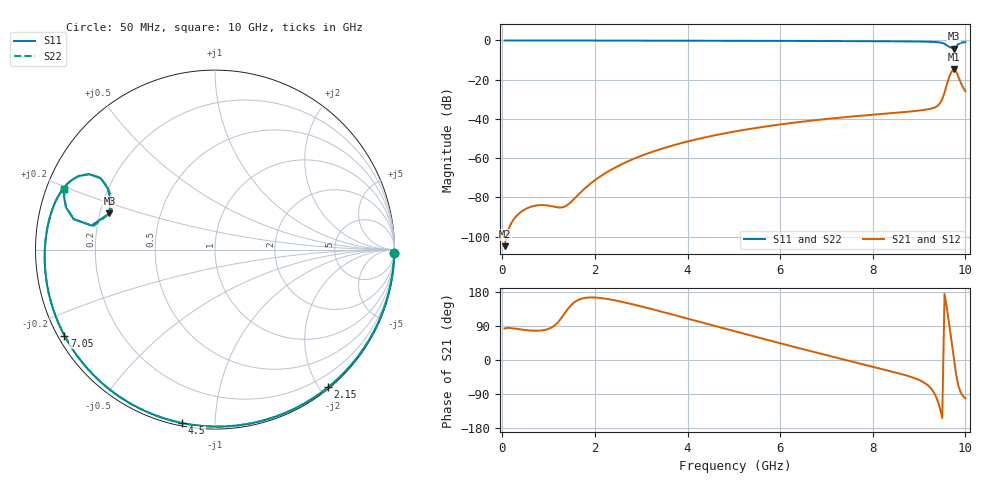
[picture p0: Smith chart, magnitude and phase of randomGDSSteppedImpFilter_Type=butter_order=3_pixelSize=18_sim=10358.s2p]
! freq	dB(S11)	phase(S11)	dB(S12)	phase(S12)
!  dB(S21)	phase(S21)	dB(S22)	phase(S22)
!S-par simulation data
#  GHz  S  DB  R 50
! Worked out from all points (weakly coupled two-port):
!   200 points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, 50 MHz to 10 GHz, reference 50 ohm
!   highest |S21| = -14.64 dB at 9.75 GHz (marker M1); lowest = -104.8 dB at 50 MHz (marker M2)
!   lowest |S11| = -4.1 dB at 9.75 GHz (marker M3), VSWR 4.29, Z = 12 + j7.91 ohm
!   |S11| at or under -10 dB: nowhere
!   |S22| runs from -4.3 to 0.0 dB; largest |S21 - S12| = 0
!   S11 on the Smith chart (normalised r, x): 50 MHz: 4, -98; 2.15 GHz: 0.02, -2.12; 4.5 GHz: 0.01, -0.83; 7.05 GHz: 0.02, -0.27; 10 GHz: 0.05, +0.19
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0.05  -0.01 -1.2  -104.79 82.9  -104.79 82.9  -0.01 -1.2
0.8  -0.02 -19.2  -83.90 77.4  -83.90 77.4  -0.02 -19.2
1.55  -0.05 -36.8  -80.76 151.8  -80.76 151.8  -0.05 -36.8
1.75  -0.05 -41.5  -76.08 163.0  -76.08 163.0  -0.05 -41.5
2.15  -0.06 -50.6  -68.72 163.2  -68.72 163.2  -0.06 -50.6
2.75  -0.08 -63.9  -61.19 148.9  -61.19 148.9  -0.08 -63.9
3.4  -0.10 -77.9  -55.47 128.9  -55.47 128.9  -0.10 -77.9
4.5  -0.14 -100.6  -48.76 92.9  -48.76 92.9  -0.14 -100.6
5.05  -0.17 -111.6  -46.25 74.9  -46.25 74.9  -0.17 -111.6
6.7  -0.27 -143.5  -40.77 22.1  -40.77 22.1  -0.27 -143.5
7.05  -0.30 -150.3  -39.88 11.2  -39.88 11.2  -0.30 -150.3
8.35  -0.44 -176.4  -37.16 -28.5  -37.16 -28.5  -0.44 -176.4
9.15  -0.62 164.7  -35.24 -63.1  -35.24 -63.1  -0.62 164.7
9.4  -0.89 156.3  -33.33 -107.0  -33.33 -107.0  -0.89 156.2
9.5  -1.31 151.5  -29.89 -153.3  -29.89 -153.3  -1.28 151.5
9.6  -2.50 148.1  -22.38 137.0  -22.38 137.0  -2.42 147.9
9.65  -3.24 150.3  -18.61 94.8  -18.61 94.8  -3.14 149.6
9.7  -3.72 153.8  -15.95 51.0  -15.95 51.0  -3.70 152.6
9.75  -4.12 161.0  -14.64 5.3  -14.64 5.3  -4.26 160.0
9.8  -3.08 169.0  -15.76 -38.5  -15.76 -38.5  -3.22 169.0
9.9  -1.27 164.1  -21.52 -85.7  -21.52 -85.7  -1.30 164.2
10  -0.88 158.2  -25.90 -101.3  -25.90 -101.3  -0.89 158.2
